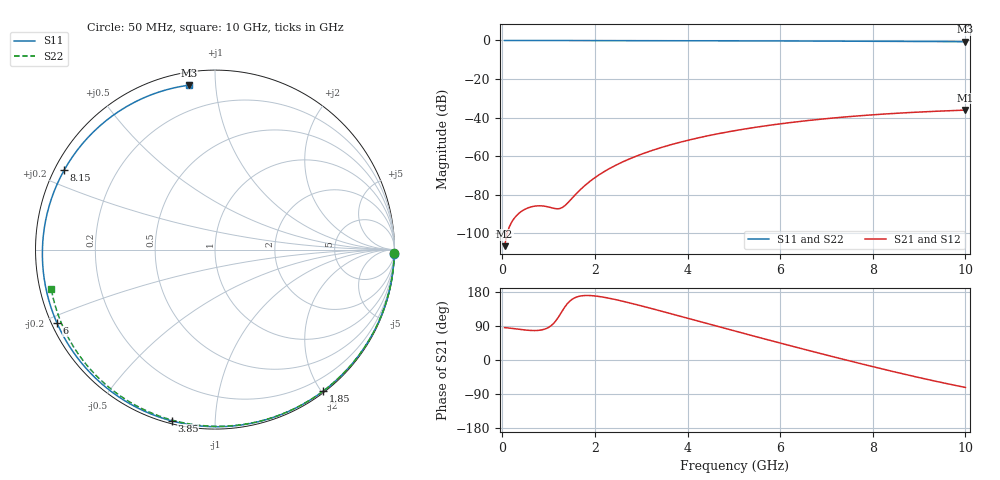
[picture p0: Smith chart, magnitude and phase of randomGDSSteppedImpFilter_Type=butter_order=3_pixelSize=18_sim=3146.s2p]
! freq	dB(S11)	phase(S11)	dB(S12)	phase(S12)
!  dB(S21)	phase(S21)	dB(S22)	phase(S22)
!S-par simulation data
#  GHz  S  DB  R 50
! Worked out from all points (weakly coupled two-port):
!   200 points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, 50 MHz to 10 GHz, reference 50 ohm
!   highest |S21| = -36.09 dB at 10 GHz (marker M1); lowest = -106.6 dB at 50 MHz (marker M2)
!   lowest |S11| = -0.7 dB at 10 GHz (marker M3), VSWR 26.50, Z = 3.26 + j42.6 ohm
!   |S11| at or under -10 dB: nowhere
!   |S22| runs from -0.6 to 0.0 dB; largest |S21 - S12| = 0
!   S11 on the Smith chart (normalised r, x): 50 MHz: 3, -82; 1.85 GHz: 0.02, -2.02; 3.85 GHz: 0.01, -0.78; 6 GHz: 0.02, -0.22; 8.15 GHz: 0.03, +0.25; 10 GHz: 0.07, +0.85
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0.05  -0.01 -1.4  -106.60 85.4  -106.60 85.4  -0.00 -0.9
0.75  -0.03 -21.7  -85.73 77.9  -85.73 77.9  -0.02 -14.4
1.55  -0.06 -44.3  -80.63 163.2  -80.63 163.2  -0.04 -29.6
1.6  -0.06 -45.7  -79.36 165.9  -79.36 165.9  -0.04 -30.5
1.75  -0.06 -49.8  -75.87 169.9  -75.87 169.9  -0.04 -33.3
1.85  -0.07 -52.6  -73.82 170.3  -73.82 170.3  -0.04 -35.2
2.15  -0.08 -60.7  -68.70 166.5  -68.70 166.5  -0.05 -40.7
2.5  -0.09 -70.0  -64.07 157.9  -64.07 157.9  -0.06 -47.1
2.9  -0.10 -80.4  -59.88 146.1  -59.88 146.1  -0.07 -54.2
3.4  -0.12 -93.1  -55.72 130.1  -55.72 130.1  -0.08 -63.0
3.85  -0.14 -104.2  -52.68 115.2  -52.68 115.2  -0.10 -70.8
4.45  -0.16 -118.6  -49.34 95.4  -49.34 95.4  -0.12 -80.9
5.05  -0.20 -132.8  -46.62 75.6  -46.62 75.6  -0.14 -90.7
6  -0.26 -155.0  -43.22 44.7  -43.22 44.7  -0.18 -105.7
6.7  -0.31 -171.5  -41.25 22.4  -41.25 22.4  -0.23 -116.5
7.45  -0.38 170.2  -39.54 -0.9  -39.54 -0.9  -0.28 -127.9
8.15  -0.45 152.2  -38.28 -22.0  -38.28 -22.0  -0.34 -138.4
8.35  -0.47 146.9  -37.97 -27.9  -37.97 -27.9  -0.36 -141.4
8.8  -0.52 134.6  -37.35 -40.8  -37.35 -40.8  -0.41 -148.1
9.25  -0.57 121.7  -36.82 -53.2  -36.82 -53.2  -0.46 -155.0
9.65  -0.61 109.8  -36.41 -63.7  -36.41 -63.7  -0.51 -161.1
10  -0.66 99.0  -36.09 -72.4  -36.09 -72.4  -0.55 -166.6
